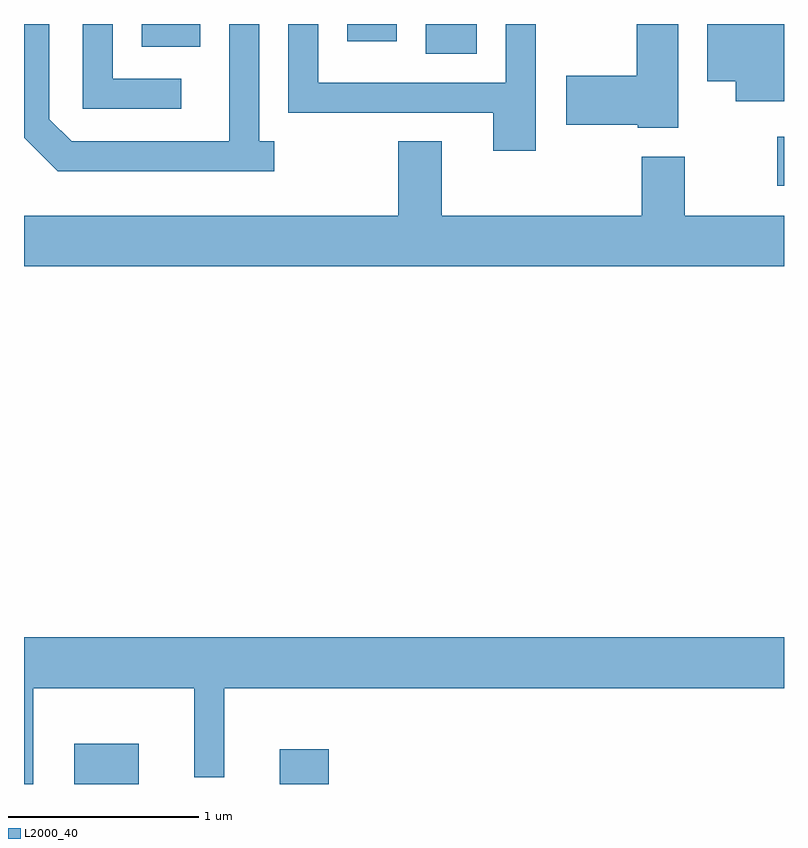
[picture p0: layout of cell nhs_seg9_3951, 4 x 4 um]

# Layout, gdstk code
import gdstk
lib = gdstk.Library(unit=1e-6, precision=1e-09)
def R(c, l, rs):  # rectangles x0, y0, x1, y1
    for r in rs: c.add(gdstk.rectangle(r[:2], r[2:], *l))
def P(c, l, *ps):  # polygons
    for p in ps: c.add(gdstk.Polygon(p, *l))
L2000_40 = (2000, 40)

nhs_seg9_3951 = lib.new_cell('nhs_seg9_3951')
R(nhs_seg9_3951, L2000_40, [(301.876,1982.432,302.214,1982.644), (302.956,1982.432,303.214,1982.614), (305.576,1985.581,305.611,1985.839), (303.726,1986.276,303.994,1986.432), (302.231,1986.311,302.539,1986.432), (303.311,1986.341,303.574,1986.432)])
P(nhs_seg9_3951, L2000_40, [(305.054,1986.432),(304.836,1986.432),(304.836,1986.159),(304.466,1986.159),(304.466,1985.901),(304.84,1985.901),(304.84,1985.886),(305.054,1985.886)],
  [(302.438,1986.144),(302.079,1986.144),(302.079,1986.432),(301.921,1986.432),(301.921,1985.986),(302.438,1985.986)],
  [(302.928,1985.814),(302.849,1985.814),(302.849,1986.432),(302.691,1986.432),(302.691,1985.814),(301.862,1985.814),(301.744,1985.932),(301.744,1986.432),(301.611,1986.432),(301.611,1985.834),(301.789,1985.656),(302.928,1985.656)],
  [(304.304,1986.432),(304.146,1986.432),(304.146,1986.124),(303.159,1986.124),(303.159,1986.432),(303.001,1986.432),(303.001,1985.966),(304.081,1985.966),(304.081,1985.766),(304.304,1985.766)],
  [(305.611,1986.432),(305.206,1986.432),(305.206,1986.131),(305.356,1986.131),(305.356,1986.026),(305.611,1986.026)],
  [(305.611,1985.424),(305.089,1985.424),(305.089,1985.734),(304.861,1985.734),(304.861,1985.424),(303.809,1985.424),(303.809,1985.814),(303.581,1985.814),(303.581,1985.424),(301.611,1985.424),(301.611,1985.156),(305.611,1985.156)],
  [(301.659,1982.936),(302.506,1982.936),(302.506,1982.468),(302.664,1982.468),(302.664,1982.936),(305.611,1982.936),(305.611,1983.204),(301.611,1983.204),(301.611,1982.432),(301.659,1982.432)])

lib.write_gds('nhs_seg9_3951.gds')
